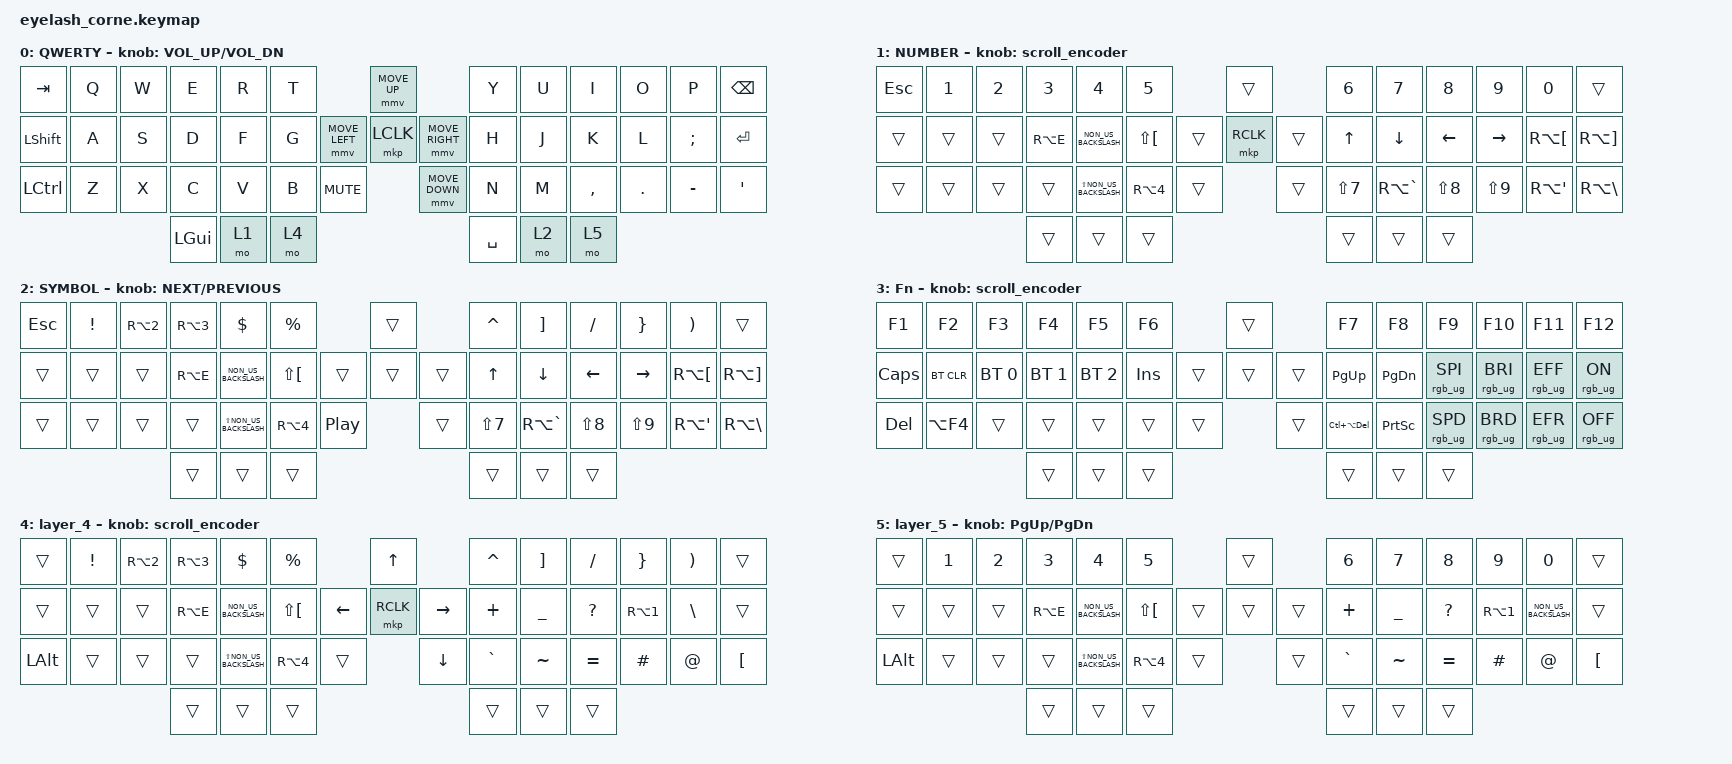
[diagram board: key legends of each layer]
#define ZMK_POINTING_DEFAULT_MOVE_VAL 1200  // 600
#define ZMK_POINTING_DEFAULT_SCRL_VAL 25   // 10

#include <input/processors.dtsi>
#include <zephyr/dt-bindings/input/input-event-codes.h>
#include <behaviors.dtsi>
#include <dt-bindings/zmk/bt.h>
#include <dt-bindings/zmk/keys.h>
#include <dt-bindings/zmk/pointing.h>
#include <dt-bindings/zmk/rgb.h>

&mmv_input_listener { input-processors = <&zip_xy_scaler 2 1>; };

&msc_input_listener { input-processors = <&zip_scroll_scaler 2 1>; };

&msc {
    acceleration-exponent = <1>;      // 0
    time-to-max-speed-ms = <100>;       // 300
    delay-ms = <0>;                   // 0
};

&mmv {
    time-to-max-speed-ms = <500>;
    acceleration-exponent = <1>;
    trigger-period-ms = <16>;
};

&soft_off { hold-time-ms = <2000>; };

/ {
    behaviors {
        td0: td0 {
            compatible = "zmk,behavior-tap-dance";
            display-name = "Shift/Caps Lock Tap Dance";
            #binding-cells = <0>;
            bindings = <&kp LEFT_SHIFT>, <&kp CAPS>;
        };
    };

    rgb_encoder: rgb_encoder {
        compatible = "zmk,behavior-sensor-rotate";
        #sensor-binding-cells = <0>;
        bindings = <&rgb_ug RGB_BRI>, <&rgb_ug RGB_BRD>;
    };

    scroll_encoder: scroll_encoder {
        compatible = "zmk,behavior-sensor-rotate";
        #sensor-binding-cells = <0>;
        bindings = <&msc SCRL_DOWN>, <&msc SCRL_UP>;

        tap-ms = <100>;
    };

    combos {
        compatible = "zmk,combos";

        softoff {
            bindings = <&soft_off>;
            key-positions = <1 15 29>;
        };
    };

    keymap {
        compatible = "zmk,keymap";

        default_layer {
            display-name = "QWERTY";
            bindings = <
&kp TAB         &kp Q  &kp W  &kp E     &kp R  &kp T                                &mmv MOVE_UP                     &kp Y      &kp U  &kp I      &kp O    &kp P      &kp BSPC
&kp LEFT_SHIFT  &kp A  &kp S  &kp D     &kp F  &kp G                &mmv MOVE_LEFT  &mkp LCLK       &mmv MOVE_RIGHT  &kp H      &kp J  &kp K      &kp L    &kp SEMI   &kp ENTER
&kp LCTRL       &kp Z  &kp X  &kp C     &kp V  &kp B  &kp C_MUTE                    &mmv MOVE_DOWN                   &kp N      &kp M  &kp COMMA  &kp DOT  &kp MINUS  &kp SQT
                              &kp LGUI  &mo 1  &mo 4                                                                 &kp SPACE  &mo 2  &mo 5
            >;

            sensor-bindings = <&inc_dec_kp C_VOLUME_UP C_VOL_DN>;
        };

        lower_layer {
            display-name = "NUMBER";
            bindings = <
&kp ESCAPE  &kp N1  &kp N2  &kp N3     &kp N4                    &kp N5                                  &trans             &kp N6            &kp N7         &kp N8          &kp N9      &kp N0                &trans
&trans      &trans  &trans  &kp RA(E)  &kp NON_US_BACKSLASH      &kp LS(LEFT_BRACKET)            &trans  &mkp RCLK  &trans  &kp UP_ARROW      &kp DOWN       &kp LEFT_ARROW  &kp RIGHT   &kp RA(LEFT_BRACKET)  &kp RA(RIGHT_BRACKET)
&trans      &trans  &trans  &trans     &kp LS(NON_US_BACKSLASH)  &kp RA(NUMBER_4)      &trans            &trans             &kp LS(NUMBER_7)  &kp RA(GRAVE)  &kp LS(N8)      &kp LS(N9)  &kp RA(SQT)           &kp RA(BACKSLASH)
                            &trans     &trans                    &trans                                                     &trans            &trans         &trans
            >;

            sensor-bindings = <&scroll_encoder>;
        };

        raise_layer {
            display-name = "SYMBOL";
            bindings = <
&kp ESC  &kp EXCLAMATION  &kp RA(NUMBER_2)  &kp RA(NUMBER_3)  &kp DOLLAR                &kp PRCNT                                         &trans          &kp CARET     &kp RIGHT_BRACKET  &kp SLASH   &kp RIGHT_BRACE  &kp RPAR              &trans
&trans   &trans           &trans            &kp RA(E)         &kp NON_US_BACKSLASH      &kp LS(LEFT_BRACKET)                      &trans  &trans  &trans  &kp UP_ARROW  &kp DOWN           &kp LEFT    &kp RIGHT        &kp RA(LEFT_BRACKET)  &kp RA(RIGHT_BRACKET)
&trans   &trans           &trans            &trans            &kp LS(NON_US_BACKSLASH)  &kp RA(NUMBER_4)      &kp C_PLAY_PAUSE            &trans          &kp LS(N7)    &kp RA(GRAVE)      &kp LS(N8)  &kp LS(N9)       &kp RA(SQT)           &kp RA(BACKSLASH)
                                            &trans            &trans                    &trans                                                            &trans        &trans             &trans
            >;

            sensor-bindings = <&inc_dec_kp C_NEXT C_PREVIOUS>;
        };

        layer_3 {
            display-name = "Fn";
            bindings = <
&kp F1    &kp F2      &kp F3        &kp F4        &kp F5        &kp F6                     &trans          &kp F7              &kp F8           &kp F9           &kp F10          &kp F11          &kp F12
&kp CAPS  &bt BT_CLR  &bt BT_SEL 0  &bt BT_SEL 1  &bt BT_SEL 2  &kp INS            &trans  &trans  &trans  &kp PAGE_UP         &kp PAGE_DOWN    &rgb_ug RGB_SPI  &rgb_ug RGB_BRI  &rgb_ug RGB_EFF  &rgb_ug RGB_ON
&kp DEL   &kp LA(F4)  &trans        &trans        &trans        &trans   &trans            &trans          &kp LC(LA(DELETE))  &kp PRINTSCREEN  &rgb_ug RGB_SPD  &rgb_ug RGB_BRD  &rgb_ug RGB_EFR  &rgb_ug RGB_OFF
                                    &trans        &trans        &trans                                     &trans              &trans           &trans
            >;

            sensor-bindings = <&scroll_encoder>;
        };

        layer_4 {
            bindings = <
&trans    &kp EXCLAMATION  &kp RA(NUMBER_2)  &kp RA(NUMBER_3)  &kp DOLLAR                &kp PERCENT                                     &kp UP_ARROW             &kp CARET  &kp RIGHT_BRACKET  &kp SLASH     &kp RIGHT_BRACE   &kp RIGHT_PARENTHESIS  &trans
&trans    &trans           &trans            &kp RA(E)         &kp NON_US_BACKSLASH      &kp LS(LEFT_BRACKET)            &kp LEFT_ARROW  &mkp RCLK     &kp RIGHT  &kp PLUS   &kp UNDERSCORE     &kp QUESTION  &kp RA(NUMBER_1)  &kp BACKSLASH          &trans
&kp LALT  &trans           &trans            &trans            &kp LS(NON_US_BACKSLASH)  &kp RA(NUMBER_4)      &trans                    &kp DOWN                 &kp GRAVE  &kp TILDE          &kp EQUAL     &kp HASH          &kp AT_SIGN            &kp LEFT_BRACKET
                                             &trans            &trans                    &trans                                                                   &trans     &trans             &trans
            >;

            sensor-bindings = <&scroll_encoder>;
        };

        layer_5 {
            bindings = <
&trans    &kp NUMBER_1  &kp NUMBER_2  &kp NUMBER_3  &kp NUMBER_4              &kp N5                                  &trans          &kp NUMBER_6  &kp N7          &kp N8        &kp N9            &kp N0                &trans
&trans    &trans        &trans        &kp RA(E)     &kp NON_US_BACKSLASH      &kp LS(LEFT_BRACKET)            &trans  &trans  &trans  &kp PLUS      &kp UNDERSCORE  &kp QUESTION  &kp RA(NUMBER_1)  &kp NON_US_BACKSLASH  &trans
&kp LALT  &trans        &trans        &trans        &kp LS(NON_US_BACKSLASH)  &kp RA(NUMBER_4)      &trans            &trans          &kp GRAVE     &kp TILDE       &kp EQUAL     &kp HASH          &kp AT_SIGN           &kp LEFT_BRACKET
                                      &trans        &trans                    &trans                                                  &trans        &trans          &trans
            >;

            sensor-bindings = <&inc_dec_kp PAGE_UP PAGE_DOWN>;
        };
    };

    conditional_layers {
        compatible = "zmk,conditional-layers";

        tri_layer {
            if-layers = <1 2>;
            then-layer = <3>;
        };
    };
};
